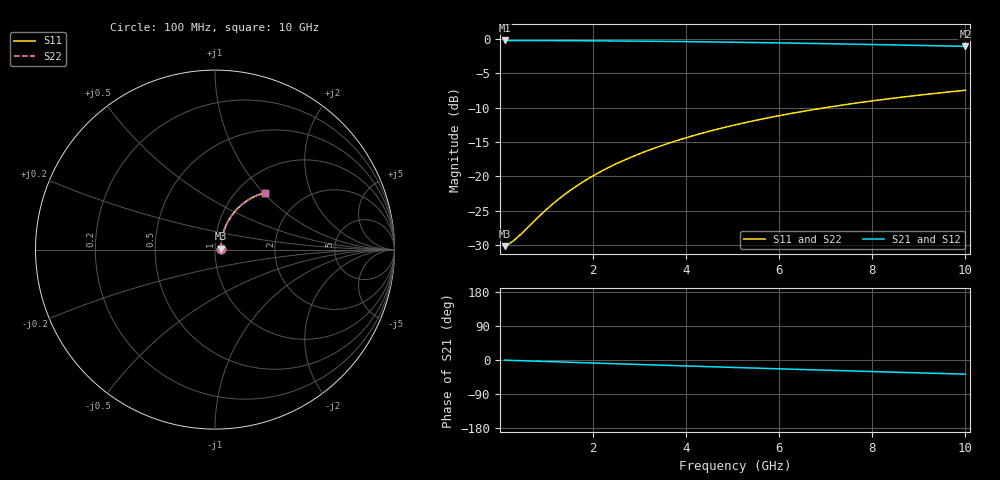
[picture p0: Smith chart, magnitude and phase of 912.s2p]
# Hz S RI R 50.00
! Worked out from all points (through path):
!   100 points, 100 MHz to 10 GHz, reference 50 ohm
!   highest |S21| = -0.27 dB at 100 MHz (marker M1); lowest = -1.1 dB at 10 GHz (marker M2)
!   group delay of S21, straight-line fit = 10.4 ps
!   lowest |S11| = -30.1 dB at 100 MHz (marker M3), VSWR 1.06, Z = 53.2 + j0.491 ohm
!   |S11| at or under -10 dB: start of sweep to 7.014 GHz
!   |S22| runs from -30.1 to -7.5 dB; largest |S21 - S12| = 0
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1e8  0.0309 0.00461  0.9691 -0.00674  0.9691 -0.00674  0.0309 0.00461
2e8  0.0312 0.00922  0.9688 -0.0135  0.9688 -0.0135  0.0312 0.00922
3e8  0.0315 0.0138  0.9685 -0.0202  0.9685 -0.0202  0.0315 0.0138
4e8  0.0318 0.0184  0.9682 -0.0269  0.9682 -0.0269  0.0318 0.0184
9e8  0.0343 0.0413  0.9655 -0.0604  0.9655 -0.0604  0.0343 0.0413
1.2e9  0.0365 0.0549  0.9632 -0.0804  0.9632 -0.0804  0.0365 0.0549
1.5e9  0.0392 0.0684  0.9603 -0.1002  0.9603 -0.1002  0.0392 0.0684
1.8e9  0.0424 0.0817  0.9568 -0.12  0.9568 -0.12  0.0424 0.0817
2.1e9  0.0462 0.0949  0.9527 -0.1395  0.9527 -0.1395  0.0462 0.0949
2.5e9  0.052 0.1121  0.9465 -0.1652  0.9465 -0.1652  0.052 0.1121
2.9e9  0.0588 0.1289  0.9392 -0.1906  0.9392 -0.1906  0.0588 0.1289
3.4e9  0.0684 0.1492  0.9289 -0.2215  0.9289 -0.2215  0.0684 0.1492
3.8e9  0.0771 0.1649  0.9196 -0.2458  0.9196 -0.2458  0.0771 0.1649
4.2e9  0.0864 0.1799  0.9094 -0.2694  0.9094 -0.2694  0.0864 0.1799
4.6e9  0.0966 0.1944  0.8985 -0.2924  0.8985 -0.2924  0.0966 0.1944
5.1e9  0.1102 0.2115  0.8837 -0.3203  0.8837 -0.3203  0.1102 0.2115
5.9e9  0.1338 0.2366  0.858 -0.3626  0.858 -0.3626  0.1338 0.2366
6.7e9  0.1595 0.2588  0.8299 -0.402  0.8299 -0.402  0.1595 0.2588
7.5e9  0.1868 0.2778  0.7999 -0.4384  0.7999 -0.4384  0.1868 0.2778
8.4e9  0.2189 0.2954  0.7644 -0.4756  0.7644 -0.4756  0.2189 0.2954
9.2e9  0.2481 0.3078  0.7317 -0.5055  0.7317 -0.5055  0.2481 0.3078
1e10  0.2778 0.3171  0.6983 -0.5324  0.6983 -0.5324  0.2778 0.3171
